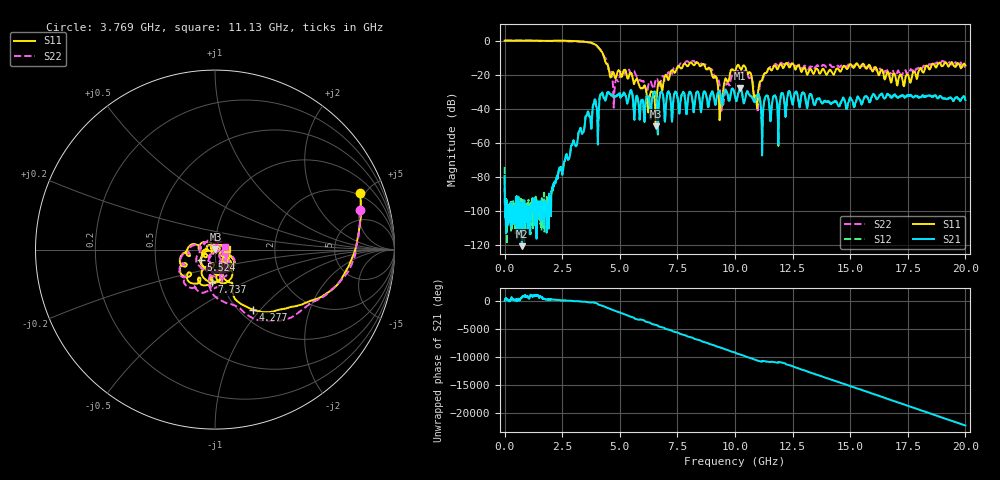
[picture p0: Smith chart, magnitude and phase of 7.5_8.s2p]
#  HZ  S  RI  R  50.00
! Rohde & Schwarz Vector Network Analyzer
! Rohde-Schwarz,ZNB20-2Port,1311601062102128,3.60
! Created: UTC 4/29/2024, 2:54:53 PM
! freq[Hz]  re:S11  im:S11  re:S21  im:S21  re:S12  im:S12  re:S22  im:S22
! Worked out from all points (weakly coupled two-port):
!   2007 points, 100 kHz to 20 GHz, reference 50 ohm
!   highest |S21| = -28.02 dB at 10.23 GHz (marker M1); lowest = -120.6 dB at 747.9 MHz (marker M2)
!   lowest |S11| = -50.3 dB at 6.56 GHz (marker M3), VSWR 1.01, Z = 50.2 + j0.201 ohm
!   |S11| at or under -10 dB: 4.325 GHz to end of sweep
!   |S22| runs from -42.2 to 0.1 dB; largest |S21 - S12| = 0.0023
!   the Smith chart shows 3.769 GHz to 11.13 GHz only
!   S11 on the Smith chart (normalised r, x): 3.769 GHz: 1.80, +4.59; 4.277 GHz: 1.15, -0.91; 5.524 GHz: 0.85, -0.10; 7.737 GHz: 0.91, -0.34; 11.13 GHz: 1.14, +0.01
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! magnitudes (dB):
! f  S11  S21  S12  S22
! 100 kHz  0.0  -79.4  -74.1  0.1
! 747.9 MHz  0.1  -120.6  -93.4  0.0
! 2.223 GHz  -0.1  -82.9  -82.3  -0.3
! 3.34 GHz  -0.6  -53.9  -53.6  -0.6
! 3.769 GHz  -1.2  -51.7  -52.1  -1.5
! 4.277 GHz  -8.1  -32.2  -32.0  -8.4
! 4.776 GHz  -20.9  -32.5  -32.5  -28.2
! 5.524 GHz  -20.1  -30.5  -30.4  -19.0
! 6.56 GHz  -50.3  -31.6  -31.5  -22.6
! 6.67 GHz  -25.5  -44.8  -45.1  -24.8
! 7.737 GHz  -14.9  -30.3  -30.4  -13.8
! 8.893 GHz  -16.1  -34.4  -34.5  -16.8
! 9.382 GHz  -37.6  -33.4  -33.5  -33.9
! 10 GHz  -18.5  -32.4  -32.4  -19.9
! 10.23 GHz  -16.4  -28.0  -28.0  -17.1
! 10.66 GHz  -18.7  -32.4  -32.4  -21.9
! 10.9 GHz  -32.8  -34.7  -34.9  -34.5
! 11.13 GHz  -23.8  -39.5  -39.5  -24.7
! 11.73 GHz  -14.6  -32.1  -32.2  -13.9
! 13.34 GHz  -18.0  -32.7  -32.6  -15.3
! 16.67 GHz  -19.1  -31.8  -31.9  -20.5
! 20 GHz  -14.6  -34.8  -34.8  -14.3
